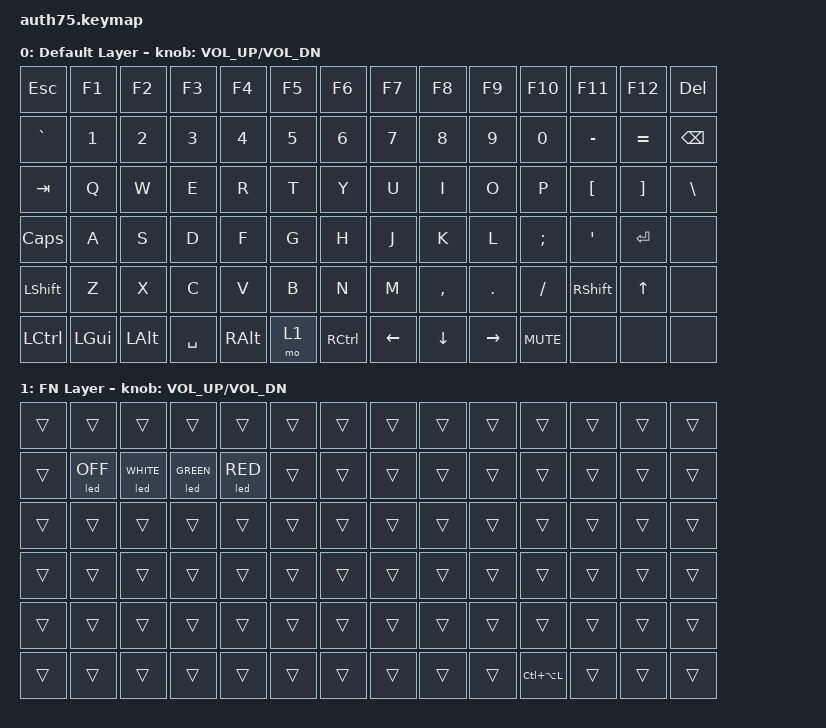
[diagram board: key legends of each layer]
#include <behaviors.dtsi>
#include <dt-bindings/zmk/auth75_led.h>
#include <dt-bindings/zmk/keys.h>

/ {
    keymap {
        compatible = "zmk,keymap";

        default_layer {
            display-name = "Default Layer";
            // -----------------------------------------------------------------------------------------
            // | ESC | F1  | F2  | F3  | F4  | F5  | F6  | F7  | F8  | F9  | F10 | F11 | F12 | DEL  |
            // |  `  |  1  |  2  |  3  |  4  |  5  |  6  |  7  |  8  |  9  |  0  |  -  |  =  | BSPC |
            // | TAB |  Q  |  W  |  E  |  R  |  T  |  Y  |  U  |  I  |  O  |  P  |  [  |  ]  |  \   |
            // | CAPS|  A  |  S  |  D  |  F  |  G  |  H  |  J  |  K  |  L  |  ;  |  '  |    ENTER   |
            // | SHFT|  Z  |  X  |  C  |  V  |  B  |  N  |  M  |  ,  |  .  |  /  | SHFT| UP |       |
            // | CTRL| WIN | ALT |     SPACE     | ALT | FN  | CTRL| LFT | DWN | RGT | K_I | FPRINT | 
            bindings = <
                &kp ESC     &kp F1      &kp F2      &kp F3      &kp F4      &kp F5      &kp F6      &kp F7      &kp F8      &kp F9      &kp F10     &kp F11     &kp F12     &kp DEL
                &kp GRAVE   &kp N1      &kp N2      &kp N3      &kp N4      &kp N5      &kp N6      &kp N7      &kp N8      &kp N9      &kp N0      &kp MINUS   &kp EQUAL   &kp BSPC
                &kp TAB     &kp Q       &kp W       &kp E       &kp R       &kp T       &kp Y       &kp U       &kp I       &kp O       &kp P       &kp LBKT    &kp RBKT    &kp BSLH
                &kp CLCK    &kp A       &kp S       &kp D       &kp F       &kp G       &kp H       &kp J       &kp K       &kp L       &kp SEMI    &kp SQT     &kp ENTER   &none
                &kp LSHIFT  &kp Z       &kp X       &kp C       &kp V       &kp B       &kp N       &kp M       &kp COMMA   &kp DOT     &kp FSLH    &kp RSHIFT  &kp UP      &none
                &kp LCTRL   &kp LGUI    &kp LALT    &kp SPACE   &kp RALT    &mo 1       &kp RCTRL   &kp LEFT    &kp DOWN    &kp RIGHT   &kp C_MUTE  &none       &none       &none
            >;
            sensor-bindings = <&inc_dec_kp C_VOL_UP C_VOL_DN>;
        };
        fn {
            display-name = "FN Layer";
            bindings = <
                &trans      &trans      &trans      &trans      &trans      &trans      &trans      &trans      &trans      &trans      &trans          &trans      &trans      &trans
                &trans      &led OFF    &led WHITE  &led GREEN  &led RED    &trans      &trans      &trans      &trans      &trans      &trans          &trans      &trans      &trans
                &trans      &trans      &trans      &trans      &trans      &trans      &trans      &trans      &trans      &trans      &trans          &trans      &trans      &trans
                &trans      &trans      &trans      &trans      &trans      &trans      &trans      &trans      &trans      &trans      &trans          &trans      &trans      &trans
                &trans      &trans      &trans      &trans      &trans      &trans      &trans      &trans      &trans      &trans      &trans          &trans      &trans      &trans
                &trans      &trans      &trans      &trans      &trans      &trans      &trans      &trans      &trans      &trans      &kp LC(LA(L))   &trans      &trans      &trans
            >;
            sensor-bindings = <&inc_dec_kp C_VOL_UP C_VOL_DN>;
        };
    };
};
